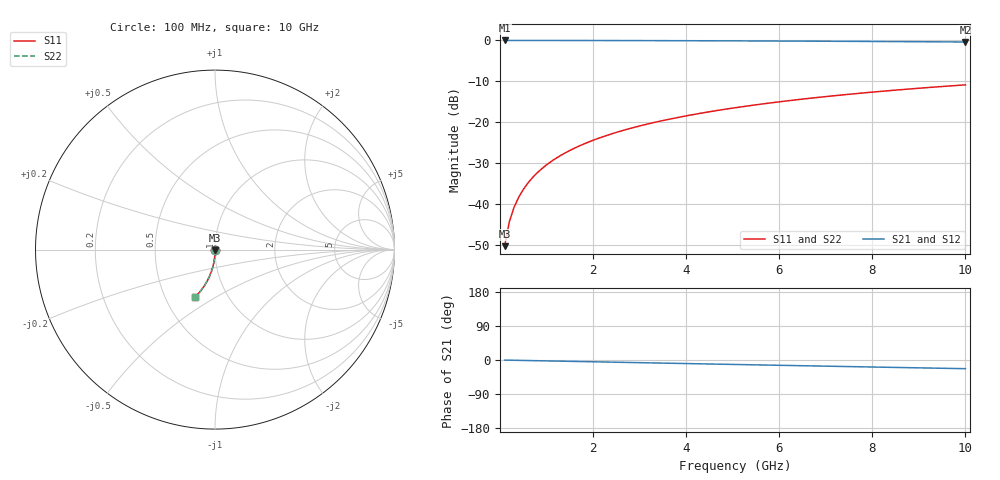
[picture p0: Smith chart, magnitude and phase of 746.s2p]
# Hz S RI R 50.00
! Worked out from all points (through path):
!   100 points, 100 MHz to 10 GHz, reference 50 ohm
!   highest |S21| = -0.01 dB at 100 MHz (marker M1); lowest = -0.4 dB at 10 GHz (marker M2)
!   group delay of S21, straight-line fit = 6.37 ps
!   lowest |S11| = -50.2 dB at 100 MHz (marker M3), VSWR 1.01, Z = 50.1 - j0.303 ohm
!   |S11| at or under -10 dB: start of sweep to end of sweep
!   |S22| runs from -50.2 to -10.8 dB; largest |S21 - S12| = 0
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1e8  0.000574 -0.00303  0.9994 -0.0041  0.9994 -0.0041  0.000574 -0.00303
2e8  0.000537 -0.00606  0.9993 -0.0082  0.9993 -0.0082  0.000537 -0.00606
3e8  0.000475 -0.00909  0.9993 -0.0123  0.9993 -0.0123  0.000475 -0.00909
4e8  0.000387 -0.0121  0.9992 -0.0164  0.9992 -0.0164  0.000387 -0.0121
5e8  0.000274 -0.0151  0.9991 -0.0205  0.9991 -0.0205  0.000274 -0.0151
6e8  0.000135 -0.0182  0.9989 -0.0246  0.9989 -0.0246  0.000135 -0.0182
7e8  -2.77e-05 -0.0212  0.9987 -0.0287  0.9987 -0.0287  -2.77e-05 -0.0212
8e8  -0.000216 -0.0242  0.9985 -0.0328  0.9985 -0.0328  -0.000216 -0.0242
9e8  -0.000429 -0.0272  0.9983 -0.0369  0.9983 -0.0369  -0.000429 -0.0272
1.1e9  -0.000929 -0.0333  0.9978 -0.0451  0.9978 -0.0451  -0.000929 -0.0333
1.4e9  -0.00186 -0.0423  0.9968 -0.0573  0.9968 -0.0573  -0.00186 -0.0423
1.8e9  -0.00346 -0.0543  0.9951 -0.0736  0.9951 -0.0736  -0.00346 -0.0543
2.1e9  -0.0049 -0.0632  0.9936 -0.0858  0.9936 -0.0858  -0.0049 -0.0632
2.5e9  -0.00717 -0.0751  0.9912 -0.1019  0.9912 -0.1019  -0.00717 -0.0751
2.9e9  -0.00983 -0.0868  0.9884 -0.1179  0.9884 -0.1179  -0.00983 -0.0868
3.4e9  -0.0137 -0.1013  0.9844 -0.1378  0.9844 -0.1378  -0.0137 -0.1013
4.2e9  -0.021 -0.1241  0.9767 -0.1692  0.9767 -0.1692  -0.021 -0.1241
5.1e9  -0.0309 -0.149  0.9663 -0.2038  0.9663 -0.2038  -0.0309 -0.149
5.9e9  -0.0412 -0.1703  0.9555 -0.2337  0.9555 -0.2337  -0.0412 -0.1703
6.7e9  -0.0527 -0.1908  0.9434 -0.2628  0.9434 -0.2628  -0.0527 -0.1908
8.4e9  -0.0809 -0.231  0.9137 -0.3215  0.9137 -0.3215  -0.0809 -0.231
1e10  -0.1113 -0.2645  0.8815 -0.3723  0.8815 -0.3723  -0.1113 -0.2645
